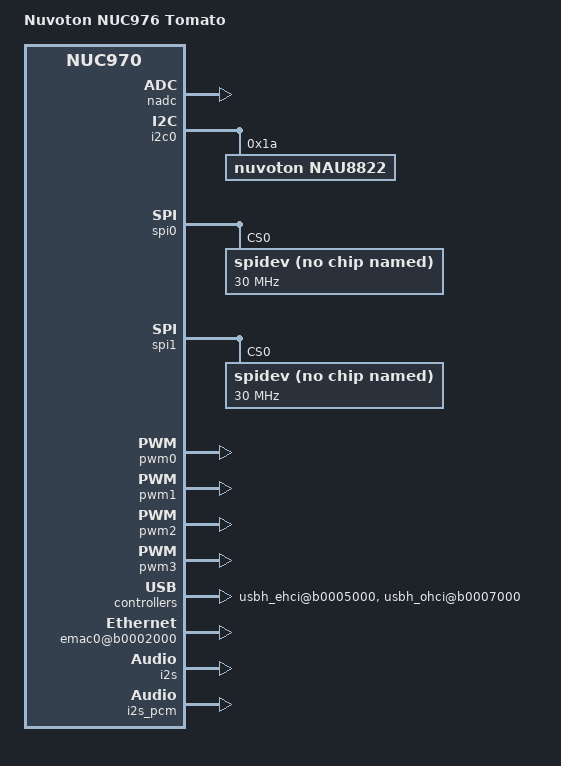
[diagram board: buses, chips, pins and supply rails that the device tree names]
/*
 * nuc972-evb.dts - Device Tree file for Nuvoton NUC976 Tomato board
 *
 * Copyright (C) 2015 Tanshi Li <chuncky@sohu.com>
 *
 * Licensed under GPLv2.
 */
/dts-v1/;
/include/ "nuc970.dtsi"
/* /include/ "nuc972.dtsi" */

/ {
	model = "Nuvoton NUC976 Tomato";
	compatible = "nuvoton,nuc972-tomato", "nuvoton,nuc972", "nuvoton,nuc970";

	chosen {
		bootargs = "root=/dev/ram0 console=ttyS0,115200n8 rdinit=/sbin/init mem=64M";
	};
	
	apb {
		nadc: nadc@b800a000 {
			status = "okay";
		};
		
		i2c0: i2c0@b8006000 {            
			status = "okay";
			
			nau8822: nau8822@1a {
				compatible = "nuvoton,nau8822";
				reg = <0x1a> ;
			};
		};

		spi0: spi0@b8006200 {
			status = "okay";
			#address-cells = <1>;
			#size-cells = <0>;
			
			num_cs  = <2>;
			lsb     = <0>;
			txneg   = <1>;
			rxneg   = <0>;
			divider = <4>;
			sleep   = <0>;
			txnum   = <0>;
			txbitlen = <8>;
			bus_num	= <0>;
			quad = <0>;
			
			spidev@0x00 {
				compatible = "spidev";               
				spi-max-frequency = <30000000>;
				reg = <0>;
			};
		};
		
		spi1: spi1@b8006300 {
			status = "okay";
			#address-cells = <1>;
			#size-cells = <0>;
		   
			num_cs  = <2>;
			lsb     = <0>;
			txneg   = <1>;
			rxneg   = <0>;
			divider = <4>;
			sleep   = <0>;
			txnum   = <0>;
			txbitlen = <8>;
			bus_num	= <1>;
			quad = <0>;
						
			spidev@0x01 {
				compatible = "spidev";               
				spi-max-frequency = <30000000>;
				reg = <0>;
			};
		};
		
		pwm0: pwm0@b8007000 {
			status = "okay";
		};

		pwm1: pwm1@b8007000 {
			status = "okay";
		};

		pwm2: pwm2@b8007000 {
			status = "okay";
		};

		pwm3: pwm3@b8007000 {
			status = "okay";
		};
	};

	ahb {
		usbh_ehci@b0005000 {
			status = "okay";
		};
		usbh_ohci@b0007000{
			status = "okay";
		};

        sdh@b000c000 {
			pinctrl-names = "default";
			pinctrl-0 = <&pinctrl_sd0>;
			status = "okay";
		};

		emac0@b0002000 {
			status = "okay";
		};
		
		i2s: i2s@b0009000 {
			status = "okay";
		};
		
		i2s_pcm: i2s_pcm {
			status = "okay";
		};   
		
		sound {
			compatible = "nuvoton,nuc970-audio";
			i2s-controller = <&i2s>;
			i2s-platform = <&i2s_pcm>;
		};
	};
};
